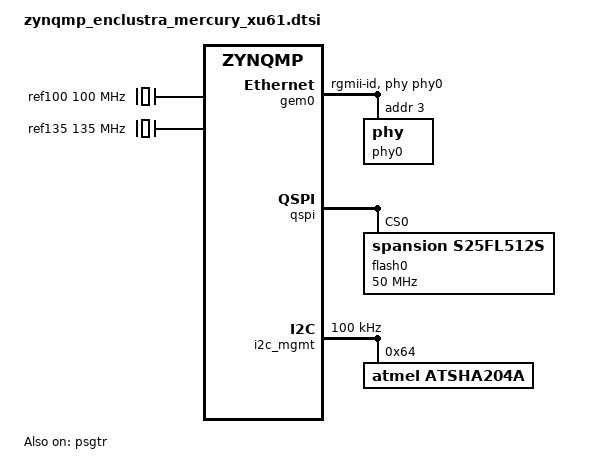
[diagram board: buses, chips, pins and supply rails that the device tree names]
/ {
	aliases {
		ethernet0 = &gem0;
		serial0 = &uart0;
		i2c1 = &i2c_mgmt;
		i2c0 = &i2c_user;
		spi0 = &qspi;
	};
};

&gem0 {
	status = "okay";
	/delete-property/ local-mac-address;
	phy-mode = "rgmii-id";
	phy-handle = <&phy0>;
	phy0: phy@3 {
		reg = <3>;
		/* Delays for KSZ9131 PHY */
		txc-skew-psec = <900>;
		txen-skew-psec = <0>;
		txd0-skew-psec = <0>;
		txd1-skew-psec = <0>;
		txd2-skew-psec = <0>;
		txd3-skew-psec = <0>;

		rxc-skew-psec = <0>;
		rxdv-skew-psec = <0>;
		rxd0-skew-psec = <0>;
		rxd1-skew-psec = <0>;
		rxd2-skew-psec = <0>;
		rxd3-skew-psec = <0>;
	};
};

&qspi {
	status = "okay";
	#address-cells = <1>;
	#size-cells = <0>;
	is-dual = <0>;
	num-cs = <1>;
	flash0: flash@0 {
		reg = <0x0>;
		compatible = "spansion,s25fl512s", "jedec,spi-nor";
		spi-rx-bus-width = <0x4>;
		spi-tx-bus-width = <0x4>;
		spi-max-frequency = <50000000>;
		#address-cells = <1>;
		#size-cells = <1>;
	};
};

&psgtr {
	status = "okay";
	clocks = <&ref100>, <&ref135>;
	clock-names = "ref2", "ref3";
};

&amba {
	ref100: ref100M {
		compatible = "fixed-clock";
		#clock-cells = <0>;
		clock-frequency = <100000000>;
	};
	ref135: ref135M {
		compatible = "fixed-clock";
		#clock-cells = <0>;
		clock-frequency = <135000000>;
	};
	i2c_mgmt: i2c@ff030000 {
		status = "okay";
		clock-frequency = <100000>;
		atsha204a@64 {
			status = "okay";
			compatible = "atmel,atsha204a", "atmel,atsha204-i2c";
			reg = <0x64>;
		};
	};
	i2c_user: i2c@ff020000 {};
};

